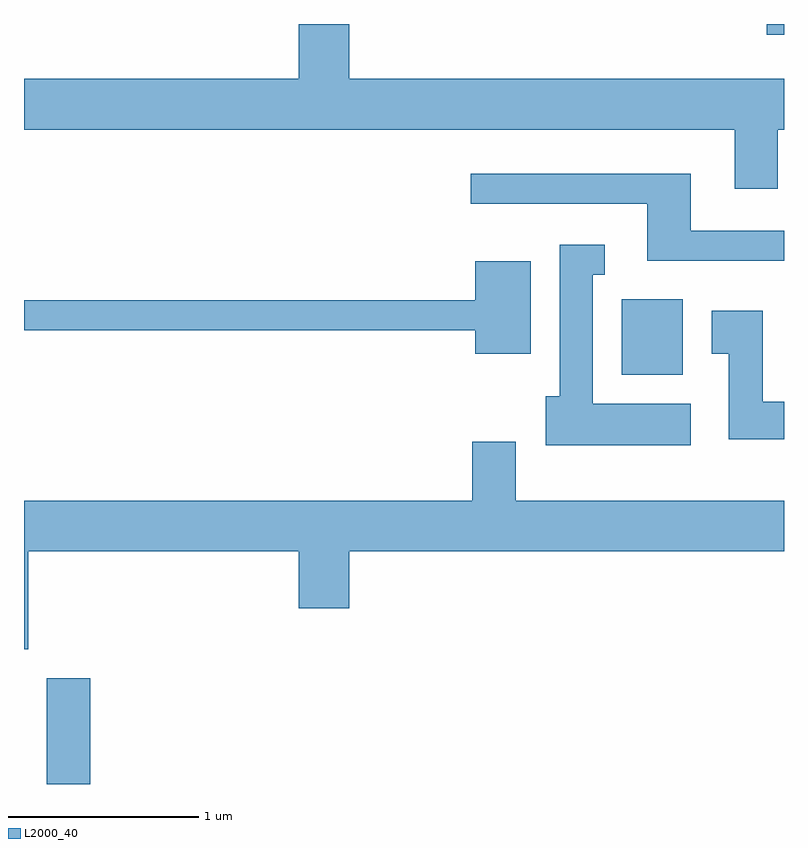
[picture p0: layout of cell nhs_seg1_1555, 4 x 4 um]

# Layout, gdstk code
import gdstk
lib = gdstk.Library(unit=1e-6, precision=1e-09)
def R(c, l, rs):  # rectangles x0, y0, x1, y1
    for r in rs: c.add(gdstk.rectangle(r[:2], r[2:], *l))
def P(c, l, *ps):  # polygons
    for p in ps: c.add(gdstk.Polygon(p, *l))
L2000_40 = (2000, 40)

nhs_seg1_1555 = lib.new_cell('nhs_seg1_1555')
R(nhs_seg1_1555, L2000_40, [(233.731,871.712,233.959,872.269), (236.756,873.866,237.079,874.264), (237.521,875.656,237.611,875.712)])
P(nhs_seg1_1555, L2000_40, [(237.579,875.156),(237.611,875.156),(237.611,875.424),(235.324,875.424),(235.324,875.712),(235.056,875.712),(235.056,875.424),(233.611,875.424),(233.611,875.156),(237.351,875.156),(237.351,874.846),(237.579,874.846)],
  [(237.611,874.624),(237.119,874.624),(237.119,874.924),(235.963,874.924),(235.963,874.766),(236.891,874.766),(236.891,874.466),(237.611,874.466)],
  [(237.119,873.714),(236.604,873.714),(236.604,874.391),(236.668,874.391),(236.668,874.549),(236.431,874.549),(236.431,873.754),(236.356,873.754),(236.356,873.496),(237.119,873.496)],
  [(236.279,874.464),(235.986,874.464),(235.986,874.259),(233.611,874.259),(233.611,874.101),(235.986,874.101),(235.986,873.976),(236.279,873.976)],
  [(237.611,873.724),(237.499,873.724),(237.499,874.204),(237.231,874.204),(237.231,873.976),(237.321,873.976),(237.321,873.526),(237.611,873.526)],
  [(233.634,872.936),(235.056,872.936),(235.056,872.636),(235.324,872.636),(235.324,872.936),(237.611,872.936),(237.611,873.204),(236.199,873.204),(236.199,873.514),(235.971,873.514),(235.971,873.204),(233.611,873.204),(233.611,872.421),(233.634,872.421)])

lib.write_gds('nhs_seg1_1555.gds')
